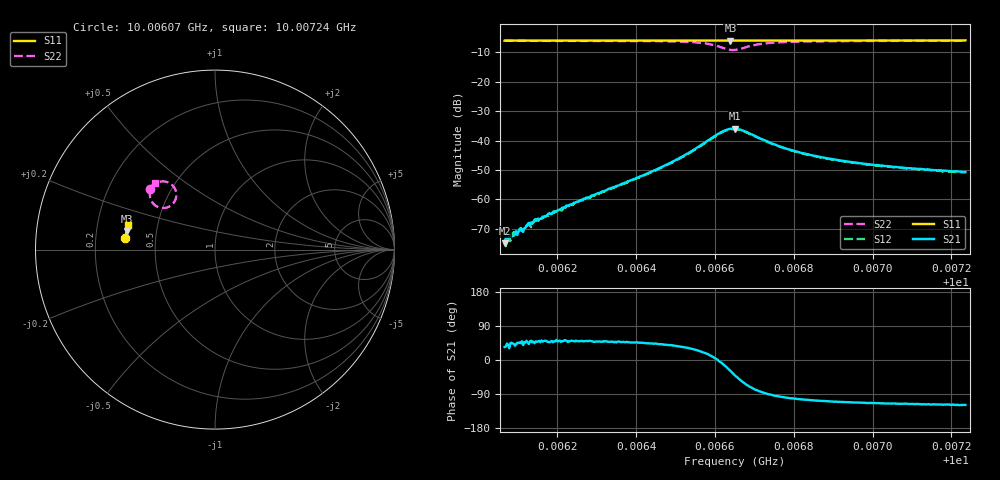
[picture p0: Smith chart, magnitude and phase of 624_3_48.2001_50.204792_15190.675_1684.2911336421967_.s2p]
#  HZ  S  RI  R  50.00
! Rohde & Schwarz Vector Network Analyzer
! Rohde-Schwarz,ZNB20-2Port,1311601062101988,3.16
! Created: UTC 3/20/2024, 12:04:02 PM
! freq[Hz]  re:S11  im:S11  re:S21  im:S21  re:S12  im:S12  re:S22  im:S22
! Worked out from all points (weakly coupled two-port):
!   401 points, 10.00607 GHz to 10.00724 GHz, reference 50 ohm
!   highest |S21| = -35.90 dB at 10.00665 GHz (marker M1); lowest = -75.0 dB at 10.00607 GHz (marker M2)
!   lowest |S11| = -6.0 dB at 10.00664 GHz (marker M3), VSWR 3.02, Z = 16.7 + j4.53 ohm
!   |S11| at or under -10 dB: nowhere
!   |S22| runs from -9.2 to -6.0 dB; largest |S21 - S12| = 0.0013
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1.0006066e10  -0.4991 0.0645  0.000147 0.000101  0.000156 8.5e-05  -0.3648 0.3402
1.0006075e10  -0.4991 0.0652  0.000165 0.000139  0.000124 0.000132  -0.3641 0.3408
1.000609e10  -0.4989 0.0662  0.000176 0.000163  0.000181 0.000211  -0.3632 0.3419
1.0006116e10  -0.4986 0.0679  0.000219 0.000236  0.000214 0.00023  -0.3615 0.3438
1.0006128e10  -0.4986 0.0687  0.000295 0.000267  0.000221 0.000294  -0.3607 0.3444
1.0006145e10  -0.4985 0.0698  0.000299 0.000348  0.000285 0.000332  -0.3595 0.3457
1.0006157e10  -0.4984 0.0706  0.000322 0.000342  0.000249 0.00034  -0.3587 0.3466
1.000618e10  -0.4983 0.0721  0.000401 0.000425  0.000351 0.000468  -0.3569 0.3483
1.0006262e10  -0.4977 0.0774  0.000627 0.000764  0.000596 0.000768  -0.3504 0.3546
1.0006458e10  -0.4957 0.0902  0.00251 0.00226  0.00233 0.00234  -0.3209 0.3739
1.0006519e10  -0.4949 0.0943  0.0045 0.00304  0.00423 0.00321  -0.2975 0.38
1.0006578e10  -0.4938 0.0982  0.00912 0.00284  0.00873 0.00322  -0.2522 0.37
1.000661e10  -0.4928 0.1001  0.0131 -0.000633  0.0129 0.000311  -0.2201 0.3317
1.0006639e10  -0.4923 0.1012  0.0139 -0.00759  0.014 -0.00659  -0.2274 0.2648
1.0006651e10  -0.4923 0.1017  0.0122 -0.0104  0.0125 -0.00941  -0.249 0.2434
1.0006671e10  -0.4926 0.1026  0.00767 -0.0126  0.00832 -0.0119  -0.2954 0.2318
1.0006715e10  -0.4928 0.1054  0.00131 -0.0107  0.00182 -0.0106  -0.351 0.265
1.0006777e10  -0.4921 0.1096  -0.00111 -0.00736  -0.000703 -0.00734  -0.3632 0.3054
1.0006847e10  -0.4916 0.1142  -0.00156 -0.00541  -0.00129 -0.00538  -0.3598 0.3287
1.0006929e10  -0.4904 0.1195  -0.0016 -0.0042  -0.0014 -0.00418  -0.3537 0.3441
1.0007043e10  -0.489 0.1268  -0.00152 -0.0033  -0.00135 -0.00331  -0.3455 0.3572
1.0007236e10  -0.4861 0.1389  -0.00139 -0.00255  -0.00127 -0.00259  -0.3334 0.3723
